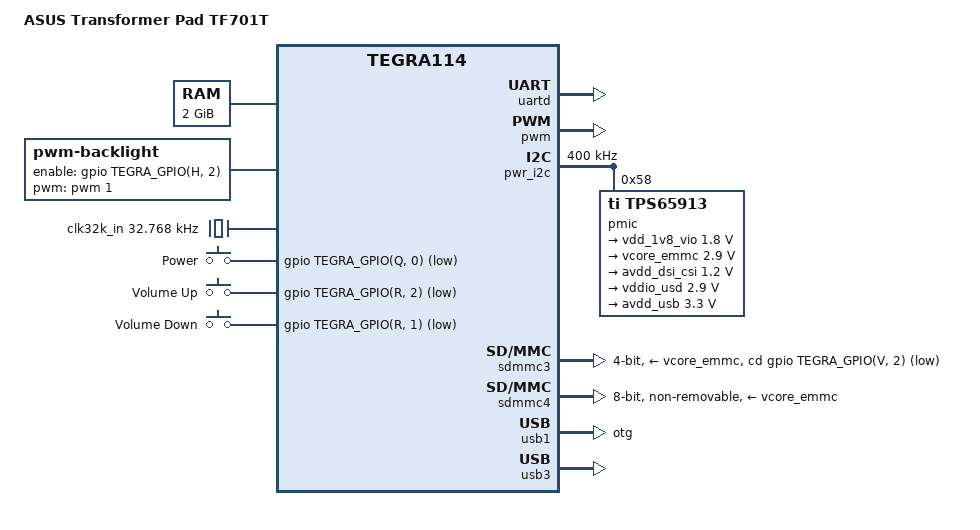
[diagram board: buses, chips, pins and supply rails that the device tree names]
// SPDX-License-Identifier: GPL-2.0
/dts-v1/;

#include <dt-bindings/input/input.h>
#include "tegra114.dtsi"

/ {
	model = "ASUS Transformer Pad TF701T";
	compatible = "asus,tf701t", "nvidia,tegra114";

	chosen {
		stdout-path = &uartd;
	};

	aliases {
		i2c0 = &pwr_i2c;

		mmc0 = &sdmmc4; /* eMMC */
		mmc1 = &sdmmc3; /* uSD slot */

		usb0 = &usb1;
		usb1 = &usb3; /* Dock USB */
	};

	memory {
		device_type = "memory";
		reg = <0x80000000 0x80000000>;
	};

	uartd: serial@70006300 {
		status = "okay";
	};

	pwm: pwm@7000a000 {
		status = "okay";
	};

	pwr_i2c: i2c@7000d000 {
		status = "okay";
		clock-frequency = <400000>;

		/* Texas Instruments TPS65913 PMIC */
		pmic: tps65913@58 {
			compatible = "ti,tps65913";
			reg = <0x58>;

			interrupts = <GIC_SPI 86 IRQ_TYPE_LEVEL_HIGH>;
			#interrupt-cells = <2>;
			interrupt-controller;

			ti,system-power-controller;

			palmas_gpio: gpio {
				compatible = "ti,palmas-gpio";
				gpio-controller;
				#gpio-cells = <2>;
			};

			pmic {
				compatible = "ti,tps65913-pmic";

				regulators {
					vdd_1v8_vio: smps8 {
						regulator-name = "vdd_1v8_gen";
						regulator-min-microvolt = <1800000>;
						regulator-max-microvolt = <1800000>;
						regulator-always-on;
						regulator-boot-on;
					};

					vcore_emmc: smps9 {
						regulator-name = "vdd_sdmmc";
						regulator-min-microvolt = <2900000>;
						regulator-max-microvolt = <2900000>;
					};

					avdd_dsi_csi: ldo2 {
						regulator-name = "avdd_dsi_csi";
						regulator-min-microvolt = <1200000>;
						regulator-max-microvolt = <1200000>;
					};

					vddio_usd: ldo9 {
						regulator-name = "vddio_sdmmc";
						regulator-min-microvolt = <2900000>;
						regulator-max-microvolt = <2900000>;
						regulator-always-on;
						regulator-boot-on;
					};

					avdd_usb: ldousb {
						regulator-name = "vdd_usb";
						regulator-min-microvolt = <3300000>;
						regulator-max-microvolt = <3300000>;
						regulator-always-on;
						regulator-boot-on;
					};
				};
			};
		};
	};

	sdmmc3: sdhci@78000400 {
		status = "okay";
		bus-width = <4>;

		cd-gpios = <&gpio TEGRA_GPIO(V, 2) GPIO_ACTIVE_LOW>;
		power-gpios = <&gpio TEGRA_GPIO(K, 1) GPIO_ACTIVE_HIGH>;

		nvidia,default-tap = <0x3>;
		nvidia,default-trim = <0x3>;

		vmmc-supply = <&vcore_emmc>;
		vqmmc-supply = <&vddio_usd>;
	};

	sdmmc4: sdhci@78000600 {
		status = "okay";
		bus-width = <8>;
		non-removable;

		vmmc-supply = <&vcore_emmc>;
		vqmmc-supply = <&vdd_1v8_vio>;
	};

	/* USB via ASUS connector */
	usb1: usb@7d000000 {
		status = "okay";
		dr_mode = "otg";
	};

	/* Dock's USB port */
	usb3: usb@7d008000 {
		status = "okay";
	};

	backlight: backlight {
		compatible = "pwm-backlight";

		enable-gpios = <&gpio TEGRA_GPIO(H, 2) GPIO_ACTIVE_HIGH>;
		pwms = <&pwm 1 1000000>;

		brightness-levels = <1 35 70 105 140 175 210 255>;
		default-brightness-level = <5>;
	};

	clk32k_in: clock-32k {
		compatible = "fixed-clock";
		#clock-cells = <0>;
		clock-frequency = <32768>;
		clock-output-names = "ref-oscillator";
	};

	gpio-keys {
		compatible = "gpio-keys";

		key-power {
			label = "Power";
			gpios = <&gpio TEGRA_GPIO(Q, 0) GPIO_ACTIVE_LOW>;
			linux,code = <KEY_ENTER>;
		};

		key-volume-up {
			label = "Volume Up";
			gpios = <&gpio TEGRA_GPIO(R, 2) GPIO_ACTIVE_LOW>;
			linux,code = <KEY_UP>;
		};

		key-volume-down {
			label = "Volume Down";
			gpios = <&gpio TEGRA_GPIO(R, 1) GPIO_ACTIVE_LOW>;
			linux,code = <KEY_DOWN>;
		};
	};
};
